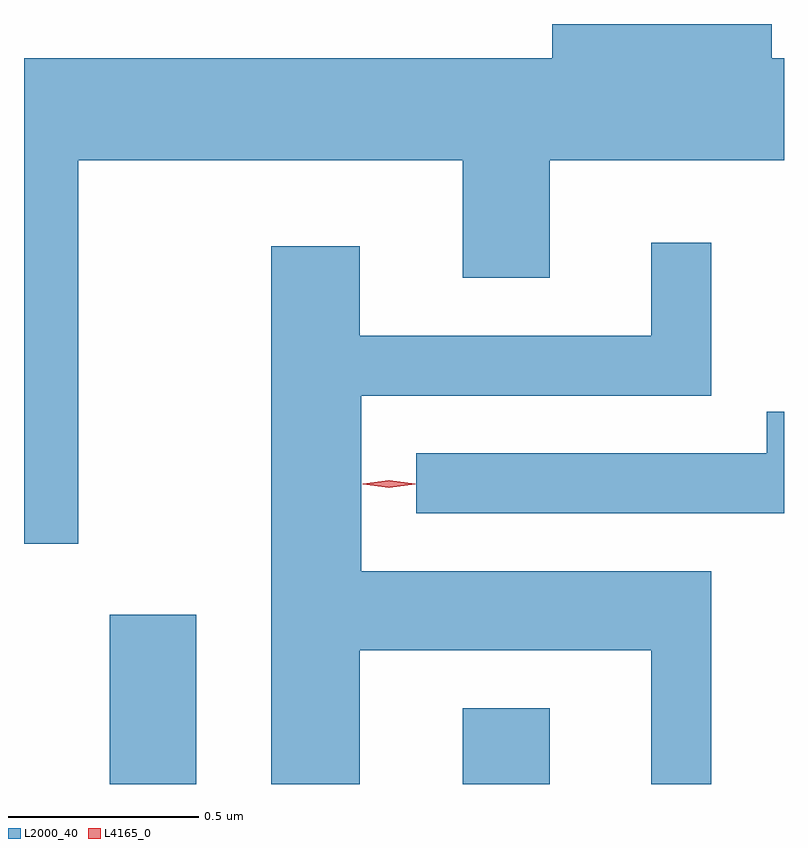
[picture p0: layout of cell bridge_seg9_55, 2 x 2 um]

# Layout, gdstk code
import gdstk
lib = gdstk.Library(unit=1e-6, precision=1e-09)
def R(c, l, rs):  # rectangles x0, y0, x1, y1
    for r in rs: c.add(gdstk.rectangle(r[:2], r[2:], *l))
def P(c, l, *ps):  # polygons
    for p in ps: c.add(gdstk.Polygon(p, *l))
L2000_40 = (2000, 40)
L4165_0 = (4165, 0)

bridge_seg9_55 = lib.new_cell('bridge_seg9_55')
R(bridge_seg9_55, L2000_40, [(1540.211,1999.054,1540.439,1999.499), (1541.141,1999.054,1541.369,1999.254)])
P(bridge_seg9_55, L2000_40, [(1541.986,2000.964),(1541.954,2000.964),(1541.954,2001.054),(1541.376,2001.054),(1541.376,2000.964),(1539.986,2000.964),(1539.986,1999.686),(1540.129,1999.686),(1540.129,2000.696),(1541.141,2000.696),(1541.141,2000.386),(1541.369,2000.386),(1541.369,2000.696),(1541.986,2000.696)],
  [(1540.869,1999.406),(1541.636,1999.406),(1541.636,1999.054),(1541.794,1999.054),(1541.794,1999.614),(1540.874,1999.614),(1540.874,2000.076),(1541.794,2000.076),(1541.794,2000.478),(1541.636,2000.478),(1541.636,2000.234),(1540.869,2000.234),(1540.869,2000.469),(1540.636,2000.469),(1540.636,1999.054),(1540.869,1999.054)],
  [(1541.986,2000.034),(1541.941,2000.034),(1541.941,1999.924),(1541.018,1999.924),(1541.018,1999.766),(1541.986,1999.766)])
P(bridge_seg9_55, L4165_0, [(1540.946,1999.833),(1540.88,1999.843),(1540.88,1999.843),(1540.88,1999.844),(1540.946,1999.853),(1541.012,1999.844),(1541.013,1999.843),(1541.012,1999.843)],
  [(1540.947,1999.833),(1540.878,1999.843),(1540.877,1999.843),(1540.878,1999.844),(1540.947,1999.853),(1541.016,1999.844),(1541.016,1999.843),(1541.016,1999.843)])

lib.write_gds('bridge_seg9_55.gds')
